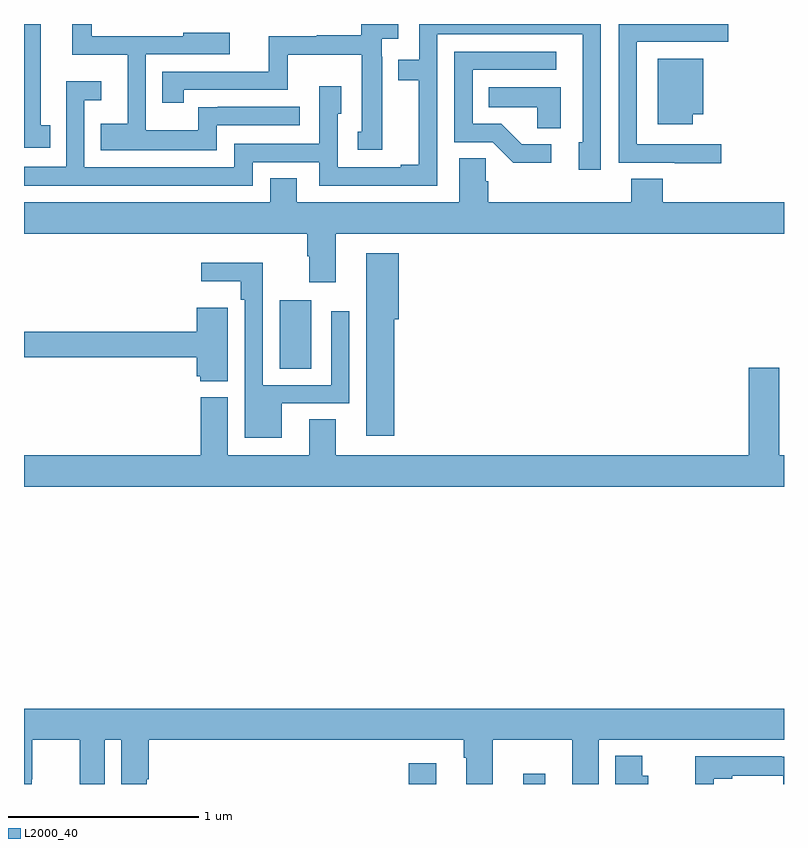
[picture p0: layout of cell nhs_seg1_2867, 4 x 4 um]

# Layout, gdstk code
import gdstk
lib = gdstk.Library(unit=1e-6, precision=1e-09)
def R(c, l, rs):  # rectangles x0, y0, x1, y1
    for r in rs: c.add(gdstk.rectangle(r[:2], r[2:], *l))
def P(c, l, *ps):  # polygons
    for p in ps: c.add(gdstk.Polygon(p, *l))
L2000_40 = (2000, 40)

nhs_seg1_2867 = lib.new_cell('nhs_seg1_2867')
R(nhs_seg1_2867, L2000_40, [(269.024,518.199,269.17,518.308), (269.627,518.199,269.743,518.254), (268.346,520.384,268.513,520.746)])
P(nhs_seg1_2867, L2000_40, [(270.67,521.565),(270.225,521.565),(270.225,522.105),(270.706,522.105),(270.706,522.199),(270.129,522.199),(270.129,521.469),(270.425,521.469),(270.425,521.465),(270.67,521.465)],
  [(267.137,521.667),(267.088,521.667),(267.088,522.199),(267,522.199),(267,521.547),(267.137,521.547)],
  [(267.215,521.349),(268.203,521.349),(268.203,521.472),(268.554,521.472),(268.554,521.349),(269.175,521.349),(269.175,522.144),(269.94,522.144),(269.94,521.577),(269.921,521.577),(269.921,521.433),(270.036,521.433),(270.036,522.199),(269.079,522.199),(269.079,522.012),(268.97,522.012),(268.97,521.904),(269.078,521.904),(269.078,521.458),(268.982,521.458),(268.982,521.445),(268.65,521.445),(268.65,521.727),(268.669,521.727),(268.669,521.871),(268.554,521.871),(268.554,521.568),(268.107,521.568),(268.107,521.445),(267.318,521.445),(267.318,521.798),(267.406,521.798),(267.406,521.899),(267.222,521.899),(267.222,521.449),(267,521.449),(267,521.348),(267.215,521.348)],
  [(268.014,521.667),(268.45,521.667),(268.45,521.763),(268.021,521.763),(268.021,521.762),(267.918,521.762),(267.918,521.641),(267.642,521.641),(267.642,522.039),(268.084,522.039),(268.084,522.154),(267.839,522.154),(267.839,522.135),(267.356,522.135),(267.356,522.199),(267.254,522.199),(267.254,522.038),(267.545,522.038),(267.545,521.674),(267.403,521.674),(267.403,521.534),(268.014,521.534)],
  [(268.885,522.026),(268.884,522.026),(268.884,522.122),(268.969,522.122),(268.969,522.199),(268.776,522.199),(268.776,522.14),(268.542,522.14),(268.542,522.135),(268.289,522.135),(268.289,521.949),(267.727,521.949),(267.727,521.784),(267.84,521.784),(267.84,521.853),(268.387,521.853),(268.387,522.038),(268.778,522.038),(268.778,521.631),(268.757,521.631),(268.757,521.538),(268.885,521.538)],
  [(269.776,521.565),(269.619,521.565),(269.511,521.673),(269.361,521.673),(269.361,521.958),(269.8,521.958),(269.8,522.054),(269.265,522.054),(269.265,521.577),(269.466,521.577),(269.576,521.468),(269.776,521.468)],
  [(270.521,521.723),(270.574,521.723),(270.574,522.016),(270.335,522.016),(270.335,521.672),(270.521,521.672)],
  [(269.824,521.866),(269.446,521.866),(269.446,521.762),(269.702,521.762),(269.702,521.65),(269.824,521.65)],
  [(268.642,521.096),(271,521.096),(271,521.26),(270.362,521.26),(270.362,521.384),(270.197,521.384),(270.197,521.26),(269.444,521.26),(269.444,521.372),(269.429,521.372),(269.429,521.492),(269.291,521.492),(269.291,521.26),(268.435,521.26),(268.435,521.387),(268.295,521.387),(268.295,521.26),(267,521.26),(267,521.096),(268.49,521.096),(268.49,520.976),(268.502,520.976),(268.502,520.839),(268.642,520.839)],
  [(268.949,520.644),(268.973,520.644),(268.973,520.993),(268.802,520.993),(268.802,520.032),(268.949,520.032)],
  [(268.357,520.203),(268.713,520.203),(268.713,520.687),(268.617,520.687),(268.617,520.299),(268.257,520.299),(268.257,520.942),(267.933,520.942),(267.933,520.844),(268.141,520.844),(268.141,520.748),(268.161,520.748),(268.161,520.022),(268.357,520.022)],
  [(268.072,520.705),(267.908,520.705),(267.908,520.58),(267,520.58),(267,520.444),(267.908,520.444),(267.908,520.344),(267.927,520.344),(267.927,520.319),(268.072,520.319)],
  [(271,519.928),(270.975,519.928),(270.975,520.39),(270.815,520.39),(270.815,519.928),(268.642,519.928),(268.642,520.118),(268.502,520.118),(268.502,519.928),(268.072,519.928),(268.072,520.234),(267.929,520.234),(267.929,519.928),(267,519.928),(267,519.764),(271,519.764)],
  [(267.042,518.224),(267.043,518.224),(267.043,518.432),(267.293,518.432),(267.293,518.224),(267.294,518.224),(267.294,518.199),(267.424,518.199),(267.424,518.432),(267.512,518.432),(267.512,518.199),(267.646,518.199),(267.646,518.224),(267.656,518.224),(267.656,518.432),(269.315,518.432),(269.315,518.336),(269.327,518.336),(269.327,518.199),(269.467,518.199),(269.467,518.432),(269.885,518.432),(269.885,518.199),(270.025,518.199),(270.025,518.432),(271,518.432),(271,518.596),(267,518.596),(267,518.199),(267.042,518.199)],
  [(270.286,518.242),(270.253,518.242),(270.253,518.347),(270.113,518.347),(270.113,518.199),(270.286,518.199)],
  [(270.631,518.226),(270.727,518.226),(270.727,518.243),(270.996,518.243),(270.996,518.199),(271,518.199),(271,518.343),(270.989,518.343),(270.989,518.344),(270.532,518.344),(270.532,518.199),(270.631,518.199)])

lib.write_gds('nhs_seg1_2867.gds')
